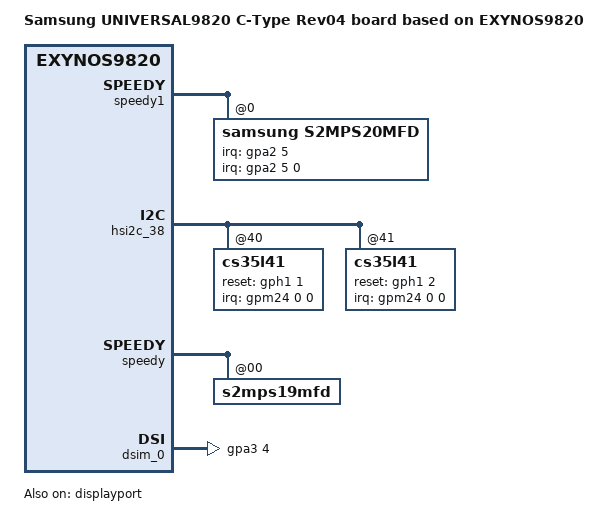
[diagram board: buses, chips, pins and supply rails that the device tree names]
/*
 * SAMSUNG EXYNOS9820 board device tree source
 *
 * Copyright (c) 2018 Samsung Electronics Co., Ltd.
 *		http://www.samsung.com
 *
 * This program is free software; you can redistribute it and/or modify
 * it under the terms of the GNU General Public License version 2 as
 * published by the Free Software Foundation.
 */

/dts-v1/;
/plugin/;
#include "modem-s5000ap-sipc-pdata.dtsi"
#include "exynos9820-universal9820_common.dtsi"
#include "exynos9820-rmem_s5000ap.dtsi"
#include "exynos9820-universal9820-camera_rev5.dtsi"
#include "exynos9820-mali.dtsi"

/ {
	compatible = "samsung,exynos9820", "samsung,UNIVERSAL9820";
	board_id = <0x1>;
	board_rev = <0x14>;

	fragment@model {
		target-path = "/";
		__overlay__ {
			#address-cells = <2>;
			#size-cells = <1>;

			model = "Samsung UNIVERSAL9820 C-Type Rev04 board based on EXYNOS9820";

		}; /* end of __overlay__ */
	}; /* end of fragment */
}; /* end of root */

&pinctrl_0 {
	s_pmic_irq1: s-pmic-irq1 {
		samsung,pins = "gpa2-5";
		samsung,pin-pud = <3>;
		samsung,pin-drv = <3>;
	};
};

&speedy1 {
	#address-cells = <1>;
	#size-cells = <0>;
	status = "okay";
	s2mps20mfd@00 {
		compatible = "samsung,s2mps20mfd";
		acpm-ipc-channel = <2>;
		i2c-speedy-address;
		s2mps20,wakeup = "enabled";
		s2mps20,irq-gpio = <&gpa2 5 0>;
		reg = <0x00>;
		interrupts = <5 0 0>;
		interrupt-parent = <&gpa2>;
		pinctrl-names = "default";
		pinctrl-0 = <&s_pmic_irq1>;
	};
};


&pinctrl_6 {
	cs35l41_r_reset: cs35l41-r-reset {
		samsung,pins ="gph1-1";
		samsung,pin-con-pdn =<3>;
		samsung,pin-pud-pdn = <0>;
	};
	cs35l41_l_reset: cs35l41-l-reset {
		samsung,pins ="gph1-2";
		samsung,pin-con-pdn =<3>;
		samsung,pin-pud-pdn = <0>;
	};
};

&hsi2c_38 {
	cs35l41@40 {
		pinctrl-names = "default";
		pinctrl-0 = <&cs35l41_r_reset>;
		interrupt-parent = <&gpm24>;
		interrupts = <0 0 0>;
		reset-gpios = <&gph1 1 0>;
	};

	cs35l41@41 {
		pinctrl-names = "default";
		pinctrl-0 = <&cs35l41_l_reset>;
		interrupt-parent = <&gpm24>;
		interrupts = <0 0 0>;
		reset-gpios = <&gph1 2 0>;
	};
};

&speedy {
	s2mps19mfd@00 {
		smpl_warn_en = <0>; /* 1 : enable , 0 : disable */
		smpl_warn_dev2= <0>;
	};
};

&dsim_0 {
	lcd_info = <&s6e3ha9>;
	/* rev5 : 0, revC01 & s5100 : 1 */
	board_info = <1>;
	/* reset, power */
	gpios = <&gpa3 4 0x1>;
};

&hsi2c_25 {
	status = "disabled";
};

&displayport {
	status = "okay";
	dp,aux_sw_oe = <&gpg1 6 0>;
	dp,sbu_sw_sel = <&gpg4 0 0>;
	dp,usb_con_sel = <&gpg0 4 0>;

	pinctrl-names = "default";
};

